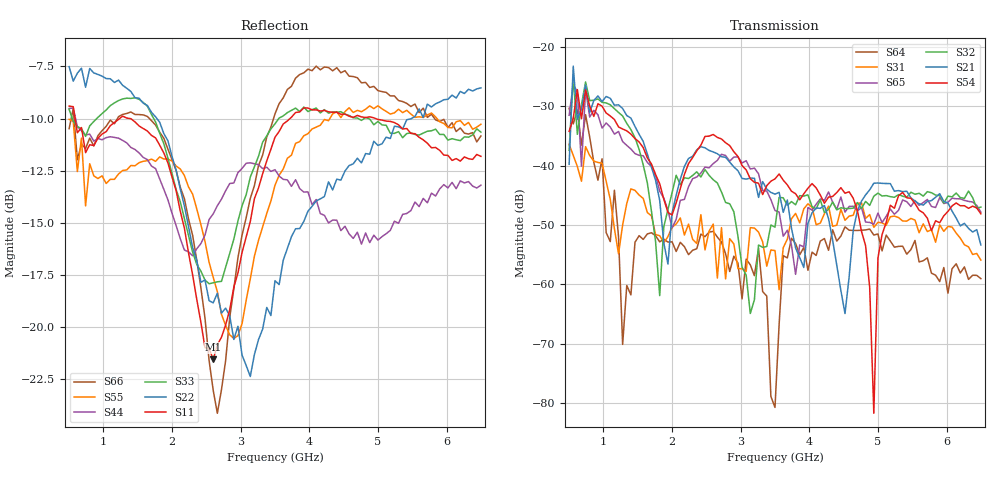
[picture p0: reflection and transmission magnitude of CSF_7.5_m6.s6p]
!Keysight Technologies,M9804A,MY58100912,A.14.10.03
!Date: Thursday, April 27, 2023 10:28:33
!Correction: S11(C  6-Port  )
!S12(C  6-Port  )
!S13(C  6-Port  )
!S14(C  6-Port  )
!S15(C  6-Port  )
!S16(C  6-Port  )
!S21(C  6-Port  )
!S22(C  6-Port  )
!S23(C  6-Port  )
!S24(C  6-Port  )
!S25(C  6-Port  )
!S26(C  6-Port  )
!S31(C  6-Port  )
!S32(C  6-Port  )
!S33(C  6-Port  )
!S34(C  6-Port  )
!S35(C  6-Port  )
!S36(C  6-Port  )
!S41(C  6-Port  )
!S42(C  6-Port  )
!S43(C  6-Port  )
!S44(C  6-Port  )
!S45(C  6-Port  )
!S46(C  6-Port  )
!S51(C  6-Port  )
!S52(C  6-Port  )
!S53(C  6-Port  )
!S54(C  6-Port  )
!S55(C  6-Port  )
!S56(C  6-Port  )
!S61(C  6-Port  )
!S62(C  6-Port  )
!S63(C  6-Port  )
!S64(C  6-Port  )
!S65(C  6-Port  )
!S66(C  6-Port  )
!S6P File: Measurement: :
# Hz S  RI  R 50
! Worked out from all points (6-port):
!   101 points, 500 MHz to 6.5 GHz, reference 50 ohm
!   strongest paths, dB at 500 MHz, 2 GHz, 3.5 GHz, 5 GHz, 6.5 GHz:
!     S54: -34.2, -48.3, -42.2, -55.5, -48.1
!     S21: -39.7, -47.9, -44.8, -42.9, -53.4
!     S32: -37.4, -44.6, -50.3, -44.6, -47.0
!     S65: -31.5, -50.5, -47.5, -48.0, -47.8
!     S31: -36.4, -50.3, -54.3, -49.5, -55.9
!     S64: -30.3, -52.8, -80.7, -51.5, -59.0
!   lowest |S11| = -21.6 dB at 2.6 GHz (marker M1), VSWR 1.18, Z = 42.5 + j2.06 ohm
!   |S11| at or under -10 dB: 587.3 MHz to 1.235 GHz (648 MHz wide, 71.1 % of centre); 1.389 GHz to 3.718 GHz (2.329 GHz wide, 91.2 % of centre); 4.968 GHz to end of sweep
